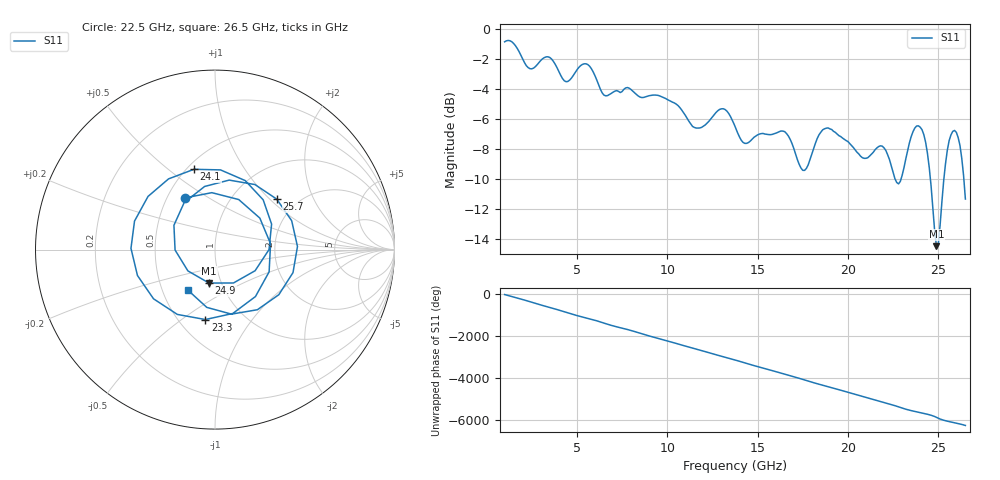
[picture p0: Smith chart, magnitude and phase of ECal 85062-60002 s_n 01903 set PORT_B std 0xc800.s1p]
!Created with skrf (http://scikit-rf.org).
# Hz S RI R 50.0
!freq ReS11 ImS11
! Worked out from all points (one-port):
!   256 points, 1 GHz to 26.5 GHz, reference 50 ohm
!   lowest |S11| = -14.5 dB at 24.9 GHz (marker M1), VSWR 1.47, Z = 43.7 - j16.9 ohm
!   |S11| at or under -10 dB: 22.62 GHz to 22.93 GHz (318.4 MHz wide, 1.4 % of centre); 24.56 GHz to 25.31 GHz (742.1 MHz wide, 2.98 % of centre); 26.41553 GHz to end of sweep
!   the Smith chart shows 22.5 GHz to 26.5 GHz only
!   S11 on the Smith chart (normalised r, x): 22.5 GHz: 0.61, +0.40; 23.3 GHz: 0.67, -0.62; 24.1 GHz: 0.54, +0.62; 24.9 GHz: 0.87, -0.34; 25.7 GHz: 1.57, +1.10; 26.5 GHz: 0.67, -0.33
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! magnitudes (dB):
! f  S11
! 1 GHz  -0.8
! 4.2 GHz  -3.3
! 5.5 GHz  -2.3
! 6.5 GHz  -4.4
! 7.4 GHz  -4.2
! 10.6 GHz  -5.1
! 11.5 GHz  -6.5
! 13.1 GHz  -5.3
! 13.8 GHz  -6.6
! 14.3 GHz  -7.6
! 16.5 GHz  -6.8
! 17 GHz  -7.9
! 17.6 GHz  -9.4
! 18.7 GHz  -6.6
! 20.2 GHz  -7.8
! 21.9 GHz  -7.8
! 22.5 GHz  -9.5
! 22.9 GHz  -10.1
! 23.3 GHz  -8.1
! 23.4 GHz  -7.6
! 24.1 GHz  -6.7
! 24.5 GHz  -9.2
! 24.9 GHz  -14.5
! 25 GHz  -14.3
! 25.4 GHz  -9.0
! 25.7 GHz  -7.0
! 26.2 GHz  -7.7
! 26.5 GHz  -11.3
